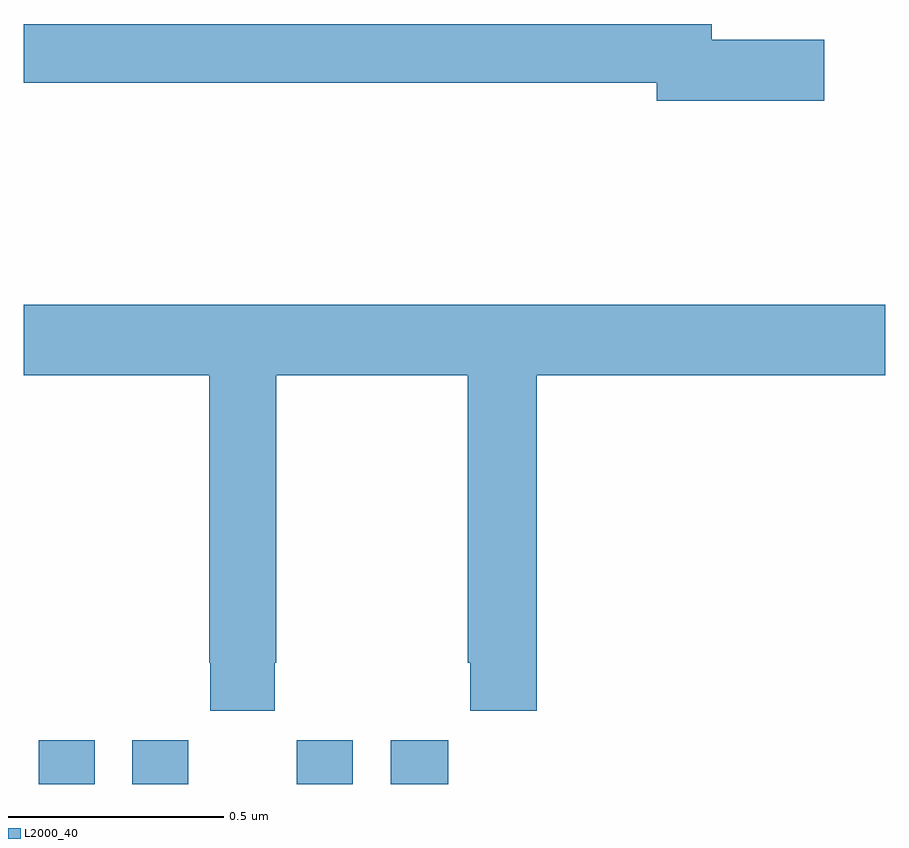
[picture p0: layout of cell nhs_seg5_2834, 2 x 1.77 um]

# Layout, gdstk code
import gdstk
lib = gdstk.Library(unit=1e-6, precision=1e-09)
def R(c, l, rs):  # rectangles x0, y0, x1, y1
    for r in rs: c.add(gdstk.rectangle(r[:2], r[2:], *l))
def P(c, l, *ps):  # polygons
    for p in ps: c.add(gdstk.Polygon(p, *l))
L2000_40 = (2000, 40)

nhs_seg5_2834 = lib.new_cell('nhs_seg5_2834')
R(nhs_seg5_2834, L2000_40, [(149.034,867.799,149.164,867.901), (149.252,867.799,149.382,867.901), (149.634,867.799,149.764,867.901), (149.852,867.799,149.986,867.901)])
P(nhs_seg5_2834, L2000_40, [(150.859,869.528),(150.598,869.528),(150.598,869.564),(149,869.564),(149,869.428),(150.47,869.428),(150.47,869.386),(150.859,869.386)],
  [(149.583,868.081),(149.586,868.081),(149.586,868.748),(150.031,868.748),(150.031,868.081),(150.037,868.081),(150.037,867.969),(150.191,867.969),(150.191,868.748),(151,868.748),(151,868.912),(149,868.912),(149,868.748),(149.431,868.748),(149.431,868.081),(149.433,868.081),(149.433,867.969),(149.583,867.969)])

lib.write_gds('nhs_seg5_2834.gds')
